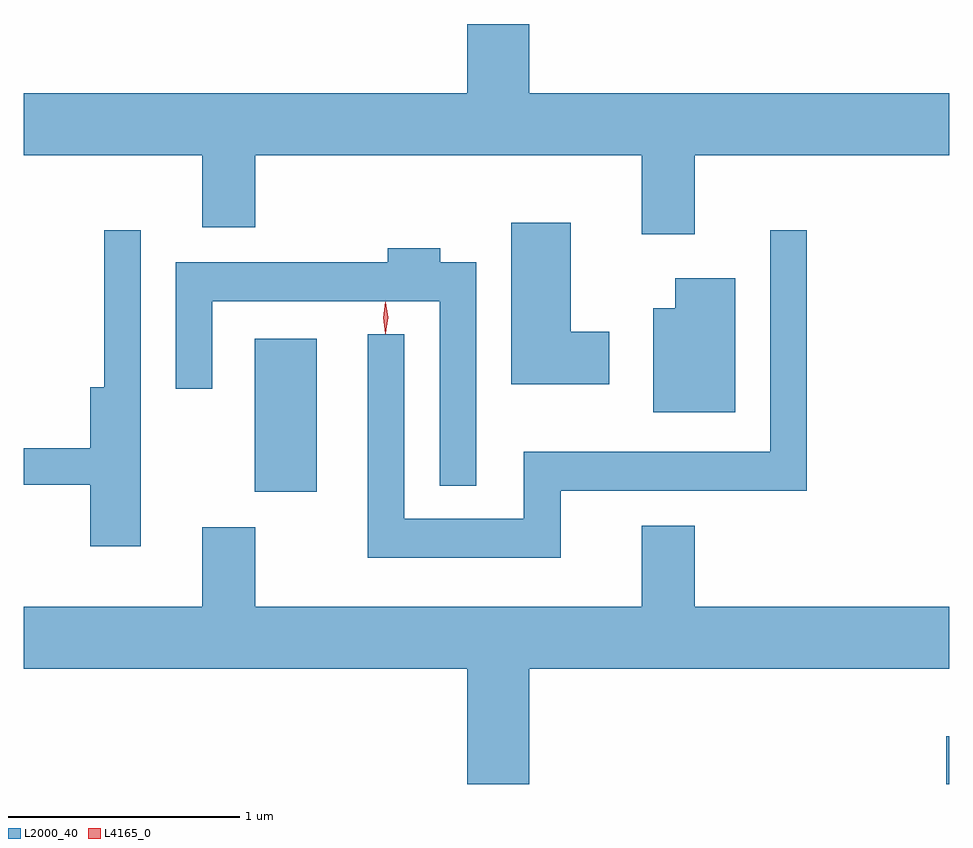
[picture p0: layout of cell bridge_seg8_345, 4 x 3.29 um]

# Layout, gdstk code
import gdstk
lib = gdstk.Library(unit=1e-6, precision=1e-09)
def R(c, l, rs):  # rectangles x0, y0, x1, y1
    for r in rs: c.add(gdstk.rectangle(r[:2], r[2:], *l))
def P(c, l, *ps):  # polygons
    for p in ps: c.add(gdstk.Polygon(p, *l))
L2000_40 = (2000, 40)
L4165_0 = (4165, 0)

bridge_seg8_345 = lib.new_cell('bridge_seg8_345')
R(bridge_seg8_345, L2000_40, [(696.666,1878.098,696.679,1878.304), (693.676,1879.361,693.944,1880.024)])
P(bridge_seg8_345, L2000_40, [(695.579,1880.816),(696.679,1880.816),(696.679,1881.084),(694.864,1881.084),(694.864,1881.384),(694.596,1881.384),(694.596,1881.084),(692.679,1881.084),(692.679,1880.816),(693.451,1880.816),(693.451,1880.506),(693.679,1880.506),(693.679,1880.816),(695.351,1880.816),(695.351,1880.476),(695.579,1880.476)],
  [(695.209,1880.054),(695.044,1880.054),(695.044,1880.524),(694.786,1880.524),(694.786,1879.826),(695.209,1879.826)],
  [(693.184,1880.493),(693.026,1880.493),(693.026,1879.814),(692.966,1879.814),(692.966,1879.549),(692.679,1879.549),(692.679,1879.391),(692.966,1879.391),(692.966,1879.126),(693.184,1879.126)],
  [(694.999,1879.366),(696.064,1879.366),(696.064,1880.493),(695.906,1880.493),(695.906,1879.534),(694.841,1879.534),(694.841,1879.244),(694.324,1879.244),(694.324,1880.043),(694.166,1880.043),(694.166,1879.076),(694.999,1879.076)],
  [(694.634,1880.354),(694.479,1880.354),(694.479,1880.414),(694.251,1880.414),(694.251,1880.354),(693.336,1880.354),(693.336,1879.808),(693.494,1879.808),(693.494,1880.186),(694.476,1880.186),(694.476,1879.388),(694.634,1879.388)],
  [(695.754,1880.284),(695.496,1880.284),(695.496,1880.154),(695.401,1880.154),(695.401,1879.706),(695.754,1879.706)],
  [(694.864,1878.596),(696.679,1878.596),(696.679,1878.864),(695.579,1878.864),(695.579,1879.214),(695.351,1879.214),(695.351,1878.864),(693.679,1878.864),(693.679,1879.209),(693.451,1879.209),(693.451,1878.864),(692.679,1878.864),(692.679,1878.596),(694.596,1878.596),(694.596,1878.098),(694.864,1878.098)])
P(bridge_seg8_345, L4165_0, [(694.243,1880.043),(694.242,1880.044),(694.233,1880.113),(694.242,1880.182),(694.243,1880.183),(694.244,1880.182),(694.253,1880.113),(694.244,1880.044)],
  [(694.244,1880.047),(694.243,1880.048),(694.234,1880.114),(694.243,1880.18),(694.244,1880.18),(694.244,1880.18),(694.254,1880.114),(694.244,1880.048)])

lib.write_gds('bridge_seg8_345.gds')
